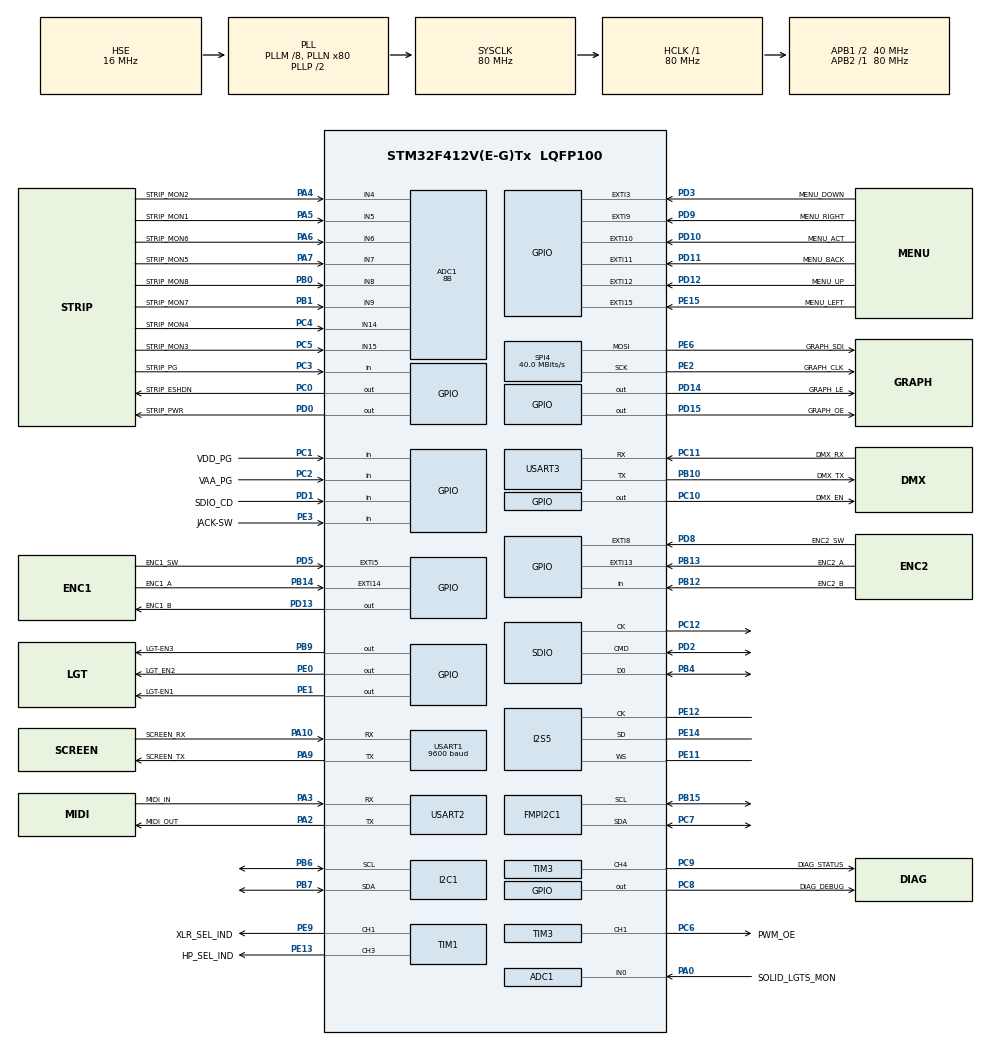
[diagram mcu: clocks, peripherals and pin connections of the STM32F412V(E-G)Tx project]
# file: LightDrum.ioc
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ADC1.Channel-0\#ChannelRegularConversion=ADC_CHANNEL_4
ADC1.Channel-1\#ChannelRegularConversion=ADC_CHANNEL_5
ADC1.Channel-10\#ChannelRegularConversion=ADC_CHANNEL_VREFINT
ADC1.Channel-2\#ChannelRegularConversion=ADC_CHANNEL_6
ADC1.Channel-3\#ChannelRegularConversion=ADC_CHANNEL_7
ADC1.Channel-4\#ChannelRegularConversion=ADC_CHANNEL_8
ADC1.Channel-5\#ChannelRegularConversion=ADC_CHANNEL_9
ADC1.Channel-6\#ChannelRegularConversion=ADC_CHANNEL_14
ADC1.Channel-7\#ChannelRegularConversion=ADC_CHANNEL_15
ADC1.Channel-8\#ChannelRegularConversion=ADC_CHANNEL_0
ADC1.Channel-9\#ChannelRegularConversion=ADC_CHANNEL_TEMPSENSOR
ADC1.ContinuousConvMode=DISABLE
ADC1.DMAContinuousRequests=ENABLE
ADC1.EOCSelection=ADC_EOC_SEQ_CONV
ADC1.ExternalTrigConv=ADC_EXTERNALTRIGCONV_T8_TRGO
ADC1.NbrOfConversion=11
ADC1.NbrOfConversionFlag=1
ADC1.Rank-0\#ChannelRegularConversion=1
ADC1.Rank-1\#ChannelRegularConversion=2
ADC1.Rank-10\#ChannelRegularConversion=11
ADC1.Rank-2\#ChannelRegularConversion=3
ADC1.Rank-3\#ChannelRegularConversion=4
ADC1.Rank-4\#ChannelRegularConversion=5
ADC1.Rank-5\#ChannelRegularConversion=6
ADC1.Rank-6\#ChannelRegularConversion=7
ADC1.Rank-7\#ChannelRegularConversion=8
ADC1.Rank-8\#ChannelRegularConversion=9
ADC1.Rank-9\#ChannelRegularConversion=10
ADC1.Resolution=ADC_RESOLUTION_8B
ADC1.SamplingTime-0\#ChannelRegularConversion=ADC_SAMPLETIME_3CYCLES
ADC1.SamplingTime-1\#ChannelRegularConversion=ADC_SAMPLETIME_3CYCLES
ADC1.SamplingTime-10\#ChannelRegularConversion=ADC_SAMPLETIME_15CYCLES
ADC1.SamplingTime-2\#ChannelRegularConversion=ADC_SAMPLETIME_3CYCLES
ADC1.SamplingTime-3\#ChannelRegularConversion=ADC_SAMPLETIME_3CYCLES
ADC1.SamplingTime-4\#ChannelRegularConversion=ADC_SAMPLETIME_3CYCLES
ADC1.SamplingTime-5\#ChannelRegularConversion=ADC_SAMPLETIME_3CYCLES
ADC1.SamplingTime-6\#ChannelRegularConversion=ADC_SAMPLETIME_3CYCLES
ADC1.SamplingTime-7\#ChannelRegularConversion=ADC_SAMPLETIME_3CYCLES
ADC1.SamplingTime-8\#ChannelRegularConversion=ADC_SAMPLETIME_3CYCLES
ADC1.SamplingTime-9\#ChannelRegularConversion=ADC_SAMPLETIME_3CYCLES
ADC1.master=1
Dma.ADC1.0.Direction=DMA_PERIPH_TO_MEMORY
Dma.ADC1.0.FIFOMode=DMA_FIFOMODE_DISABLE
Dma.ADC1.0.Instance=DMA2_Stream0
Dma.ADC1.0.MemDataAlignment=DMA_MDATAALIGN_BYTE
Dma.ADC1.0.MemInc=DMA_MINC_ENABLE
Dma.ADC1.0.Mode=DMA_CIRCULAR
Dma.ADC1.0.PeriphDataAlignment=DMA_PDATAALIGN_BYTE
Dma.ADC1.0.PeriphInc=DMA_PINC_DISABLE
Dma.ADC1.0.Priority=DMA_PRIORITY_MEDIUM
Dma.FMPI2C1_TX.1.Direction=DMA_MEMORY_TO_PERIPH
Dma.FMPI2C1_TX.1.FIFOMode=DMA_FIFOMODE_DISABLE
Dma.FMPI2C1_TX.1.Instance=DMA1_Stream1
Dma.FMPI2C1_TX.1.MemDataAlignment=DMA_MDATAALIGN_BYTE
Dma.FMPI2C1_TX.1.MemInc=DMA_MINC_ENABLE
Dma.FMPI2C1_TX.1.Mode=DMA_NORMAL
Dma.FMPI2C1_TX.1.PeriphDataAlignment=DMA_PDATAALIGN_BYTE
Dma.FMPI2C1_TX.1.PeriphInc=DMA_PINC_DISABLE
Dma.FMPI2C1_TX.1.Priority=DMA_PRIORITY_HIGH
Dma.Request0=ADC1
Dma.Request1=FMPI2C1_TX
Dma.Request2=SPI5_RX
Dma.SPI5_RX.2.Direction=DMA_PERIPH_TO_MEMORY
Dma.SPI5_RX.2.FIFOMode=DMA_FIFOMODE_DISABLE
Dma.SPI5_RX.2.Instance=DMA2_Stream3
Dma.SPI5_RX.2.MemDataAlignment=DMA_MDATAALIGN_HALFWORD
Dma.SPI5_RX.2.MemInc=DMA_MINC_ENABLE
Dma.SPI5_RX.2.Mode=DMA_CIRCULAR
Dma.SPI5_RX.2.PeriphDataAlignment=DMA_PDATAALIGN_HALFWORD
Dma.SPI5_RX.2.PeriphInc=DMA_PINC_DISABLE
Dma.SPI5_RX.2.Priority=DMA_PRIORITY_VERY_HIGH
FATFS.BSP.number=1
FATFS._CODE_PAGE=850
FATFS._USE_LFN=1
FATFS0.BSP.STBoard=false
FATFS0.BSP.api=Unknown
FATFS0.BSP.instance=PD1
FATFS0.BSP.ip=GPIO
FATFS0.BSP.mode=Input
FATFS0.BSP.name=Detect_SDIO
FATFS0.BSP.solution=PD1
FMPI2C1.FMPI2C_Speed_Mode=FMPI2C_Fast_Plus
FMPI2C1.Timing=0x00100618
I2S5.AudioFreq=I2S_AUDIOFREQ_48K
I2S5.DataFormat=I2S_DATAFORMAT_32B
I2S5.ErrorAudioFreq=-0.42 %
I2S5.FullDuplexMode=I2S_FULLDUPLEXMODE_DISABLE
I2S5.Instance=SPI$Index
I2S5.Mode=I2S_MODE_MASTER_RX
I2S5.RealAudioFreq=47.794 KHz
I2S5.Standard=I2S_STANDARD_MSB
I2S5.VirtualMode=I2S_MODE_MASTER
Mcu.Family=STM32F4
Mcu.Name=STM32F412V(E-G)Tx
Mcu.Package=LQFP100
NVIC.ADC_IRQn=true\:0\:0\:false\:false\:true\:true\:true\:true
NVIC.DMA1_Stream1_IRQn=true\:0\:0\:false\:false\:true\:false\:true\:true
NVIC.DMA2_Stream0_IRQn=true\:0\:0\:false\:false\:true\:false\:true\:true
NVIC.DMA2_Stream3_IRQn=true\:0\:0\:false\:false\:true\:false\:true\:true
NVIC.EXTI15_10_IRQn=true\:0\:0\:false\:false\:true\:true\:true\:true
NVIC.EXTI3_IRQn=true\:0\:0\:false\:false\:true\:true\:true\:true
NVIC.EXTI9_5_IRQn=true\:0\:0\:false\:false\:true\:true\:true\:true
NVIC.FMPI2C1_ER_IRQn=true\:0\:0\:false\:false\:true\:true\:true\:true
NVIC.FMPI2C1_EV_IRQn=true\:0\:0\:false\:false\:true\:true\:true\:true
NVIC.PriorityGroup=NVIC_PRIORITYGROUP_4
NVIC.RCC_IRQn=true\:0\:0\:false\:false\:true\:true\:false\:true
NVIC.RTC_Alarm_IRQn=true\:0\:0\:false\:false\:true\:true\:true\:true
NVIC.TIM6_IRQn=true\:0\:0\:false\:false\:true\:true\:true\:true
NVIC.USART1_IRQn=true\:0\:0\:false\:false\:true\:true\:true\:true
NVIC.USART2_IRQn=true\:0\:0\:false\:false\:true\:true\:true\:true
NVIC.USART3_IRQn=true\:0\:0\:false\:false\:true\:true\:true\:true
PA0.GPIO_Label=SOLID_LGTS_MON
PA0.Signal=ADCx_IN0
PA10.GPIO_Label=SCREEN_RX
PA10.Mode=Asynchronous
PA10.Signal=USART1_RX
PA13.Mode=Trace_Asynchronous_SW
PA13.Signal=SYS_JTMS-SWDIO
PA14.Mode=Trace_Asynchronous_SW
PA14.Signal=SYS_JTCK-SWCLK
PA2.GPIO_Label=MIDI_OUT
PA2.Mode=Asynchronous
PA2.Signal=USART2_TX
PA3.GPIO_Label=MIDI_IN
PA3.Mode=Asynchronous
PA3.Signal=USART2_RX
PA4.GPIO_Label=STRIP_MON2
PA4.Signal=ADCx_IN4
PA5.GPIO_Label=STRIP_MON1
PA5.Signal=ADCx_IN5
PA6.GPIO_Label=STRIP_MON6
PA6.Signal=ADCx_IN6
PA7.GPIO_Label=STRIP_MON5
PA7.Signal=ADCx_IN7
PA9.GPIO_Label=SCREEN_TX
PA9.Mode=Asynchronous
PA9.Signal=USART1_TX
PB0.GPIO_Label=STRIP_MON8
PB0.Signal=ADCx_IN8
PB1.GPIO_Label=STRIP_MON7
PB1.Signal=ADCx_IN9
PB10.GPIO_Label=DMX_TX
PB10.Mode=Asynchronous
PB10.Signal=USART3_TX
PB12.GPIO_Label=ENC2_B
PB12.Signal=GPIO_Input
PB13.GPIO_Label=ENC2_A
PB13.GPIO_ModeDefaultEXTI=GPIO_MODE_IT_RISING_FALLING
PB13.Signal=GPXTI13
PB14.GPIO_Label=ENC1_A
PB14.GPIO_ModeDefaultEXTI=GPIO_MODE_IT_RISING_FALLING
PB14.Signal=GPXTI14
PB15.Mode=I2C
PB15.Signal=FMPI2C1_SCL
PB3.Mode=Trace_Asynchronous_SW
PB3.Signal=SYS_JTDO-SWO
PB4.Mode=SD_1_bit
PB4.Signal=SDIO_D0
PB6.Mode=I2C
PB6.Signal=I2C1_SCL
PB7.Mode=I2C
PB7.Signal=I2C1_SDA
PB9.GPIO_Label=LGT-EN3
PB9.Signal=GPIO_Output
PC0.GPIO_Label=STRIP_ESHDN
PC0.GPIO_ModeDefaultOutputPP=GPIO_MODE_OUTPUT_PP
PC0.GPIO_PuPd=GPIO_NOPULL
PC0.Signal=GPIO_Output
PC1.GPIO_Label=VDD_PG
PC1.Signal=GPIO_Input
PC10.GPIO_Label=DMX_EN
PC10.Signal=GPIO_Output
PC11.GPIO_Label=DMX_RX
PC11.Mode=Asynchronous
PC11.Signal=USART3_RX
PC12.Mode=SD_1_bit
PC12.Signal=SDIO_CK
PC14-OSC32_IN.Mode=LSE-External-Oscillator
PC14-OSC32_IN.Signal=RCC_OSC32_IN
PC15-OSC32_OUT.Mode=LSE-External-Oscillator
PC15-OSC32_OUT.Signal=RCC_OSC32_OUT
PC2.GPIO_Label=VAA_PG
PC2.Signal=GPIO_Input
PC3.GPIO_Label=STRIP_PG
PC3.Signal=GPIO_Input
PC4.GPIO_Label=STRIP_MON4
PC4.Signal=ADCx_IN14
PC5.GPIO_Label=STRIP_MON3
PC5.Signal=ADCx_IN15
PC6.GPIO_Label=PWM_OE
PC6.Signal=S_TIM3_CH1
PC7.Mode=I2C
PC7.Signal=FMPI2C1_SDA
PC8.GPIO_Label=DIAG_DEBUG
PC8.PinState=GPIO_PIN_SET
PC8.Signal=GPIO_Output
PC9.GPIO_Label=DIAG_STATUS
PC9.Signal=S_TIM3_CH4
PD0.GPIO_Label=STRIP_PWR
PD0.Signal=GPIO_Output
PD1.GPIO_Label=SDIO_CD
PD1.Signal=GPIO_Input
PD10.GPIO_Label=MENU_ACT
PD10.GPIO_ModeDefaultEXTI=GPIO_MODE_IT_FALLING
PD10.GPIO_PuPd=GPIO_PULLUP
PD10.Signal=GPXTI10
PD11.GPIO_Label=MENU_BACK
PD11.GPIO_ModeDefaultEXTI=GPIO_MODE_IT_FALLING
PD11.GPIO_PuPd=GPIO_PULLUP
PD11.Signal=GPXTI11
PD12.GPIO_Label=MENU_UP
PD12.GPIO_ModeDefaultEXTI=GPIO_MODE_IT_FALLING
PD12.GPIO_PuPd=GPIO_PULLUP
PD12.Signal=GPXTI12
PD13.GPIO_Label=ENC1_B
PD13.GPIO_Speed=GPIO_SPEED_FREQ_HIGH
PD13.PinState=GPIO_PIN_RESET
PD13.Signal=GPIO_Output
PD14.GPIO_Label=GRAPH_LE
PD14.Signal=GPIO_Output
PD15.GPIO_Label=GRAPH_OE
PD15.GPIO_Speed=GPIO_SPEED_FREQ_HIGH
PD15.Signal=GPIO_Output
PD2.Mode=SD_1_bit
PD2.Signal=SDIO_CMD
PD3.GPIO_Label=MENU_DOWN
PD3.GPIO_ModeDefaultEXTI=GPIO_MODE_IT_FALLING
PD3.GPIO_PuPd=GPIO_PULLUP
PD3.Signal=GPXTI3
PD5.GPIO_Label=ENC1_SW
PD5.GPIO_ModeDefaultEXTI=GPIO_MODE_IT_FALLING
PD5.GPIO_PuPd=GPIO_PULLUP
PD5.Signal=GPXTI5
PD8.GPIO_Label=ENC2_SW
PD8.GPIO_ModeDefaultEXTI=GPIO_MODE_IT_FALLING
PD8.GPIO_PuPd=GPIO_PULLUP
PD8.Signal=GPXTI8
PD9.GPIO_Label=MENU_RIGHT
PD9.GPIO_ModeDefaultEXTI=GPIO_MODE_IT_FALLING
PD9.GPIO_PuPd=GPIO_PULLUP
PD9.Signal=GPXTI9
PE0.GPIO_Label=LGT_EN2
PE0.Signal=GPIO_Output
PE1.GPIO_Label=LGT-EN1
PE1.Signal=GPIO_Output
PE11.Mode=Half_Duplex_Master
PE11.Signal=I2S5_WS
PE12.Mode=Half_Duplex_Master
PE12.Signal=I2S5_CK
PE13.GPIO_Label=HP_SEL_IND
PE13.Signal=S_TIM1_CH3
PE14.Mode=Half_Duplex_Master
PE14.Signal=I2S5_SD
PE15.GPIO_Label=MENU_LEFT
PE15.GPIO_ModeDefaultEXTI=GPIO_MODE_IT_FALLING
PE15.GPIO_PuPd=GPIO_PULLUP
PE15.Signal=GPXTI15
PE2.GPIO_Label=GRAPH_CLK
PE2.Mode=TX_Only_Simplex_Unidirect_Master
PE2.Signal=SPI4_SCK
PE3.GPIO_Label=JACK-SW
PE3.Signal=GPIO_Input
PE6.GPIO_Label=GRAPH_SDI
PE6.Mode=TX_Only_Simplex_Unidirect_Master
PE6.Signal=SPI4_MOSI
PE9.GPIO_Label=XLR_SEL_IND
PE9.Signal=S_TIM1_CH1
PH0\ -\ OSC_IN.Mode=HSE-External-Oscillator
PH0\ -\ OSC_IN.Signal=RCC_OSC_IN
PH1\ -\ OSC_OUT.Mode=HSE-External-Oscillator
PH1\ -\ OSC_OUT.Signal=RCC_OSC_OUT
ProjectManager.HeapSize=0x200
ProjectManager.StackSize=0x400
ProjectManager.TargetToolchain=STM32CubeIDE
RCC.AHBFreq_Value=80000000
RCC.APB1CLKDivider=RCC_HCLK_DIV2
RCC.APB1Freq_Value=40000000
RCC.APB1TimFreq_Value=80000000
RCC.APB2Freq_Value=80000000
RCC.APB2TimFreq_Value=80000000
RCC.CortexFreq_Value=80000000
RCC.HCLKFreq_Value=80000000
RCC.HSE_VALUE=16000000
RCC.PLLI2SM=8
RCC.PLLI2SN=52
RCC.PLLM=8
RCC.PLLN=80
RCC.PLLQ=4
RCC.PLLSourceVirtual=RCC_PLLSOURCE_HSE
RCC.RCC_RTC_Clock_SourceVirtual=RCC_RTCCLKSOURCE_LSE
RCC.SYSCLKFreq_VALUE=80000000
RCC.SYSCLKSource=RCC_SYSCLKSOURCE_PLLCLK
RCC.USBFreq_Value=40000000
RCC.VCOOutputFreq_Value=160000000
RCC.VDD_VALUE=3.2
RTC.Alarm=RTC_ALARM_A
RTC.HourFormat=RTC_HOURFORMAT_12
RTC.Minutes_A=1
SH.ADCx_IN0.0=ADC1_IN0,IN0
SH.ADCx_IN14.0=ADC1_IN14,IN14
SH.ADCx_IN15.0=ADC1_IN15,IN15
SH.ADCx_IN4.0=ADC1_IN4,IN4
SH.ADCx_IN5.0=ADC1_IN5,IN5
SH.ADCx_IN6.0=ADC1_IN6,IN6
SH.ADCx_IN7.0=ADC1_IN7,IN7
SH.ADCx_IN8.0=ADC1_IN8,IN8
SH.ADCx_IN9.0=ADC1_IN9,IN9
SH.S_TIM1_CH1.0=TIM1_CH1,PWM Generation1 CH1
SH.S_TIM1_CH3.0=TIM1_CH3,PWM Generation3 CH3
SH.S_TIM3_CH1.0=TIM3_CH1,PWM Generation1 CH1
SH.S_TIM3_CH4.0=TIM3_CH4,PWM Generation4 CH4
SPI4.CalculateBaudRate=40.0 MBits/s
SPI4.Direction=SPI_DIRECTION_2LINES
SPI4.Mode=SPI_MODE_MASTER
SPI4.VirtualType=VM_MASTER
TIM1.AutoReloadPreload=TIM_AUTORELOAD_PRELOAD_ENABLE
TIM1.Channel-PWM\ Generation1\ CH1=TIM_CHANNEL_1
TIM1.Channel-PWM\ Generation3\ CH3=TIM_CHANNEL_3
TIM1.Pulse-PWM\ Generation3\ CH3=32000
TIM3.AutoReloadPreload=TIM_AUTORELOAD_PRELOAD_ENABLE
TIM3.Channel-PWM\ Generation1\ CH1=TIM_CHANNEL_1
TIM3.Channel-PWM\ Generation4\ CH4=TIM_CHANNEL_4
TIM3.Period=65535
TIM6.AutoReloadPreload=TIM_AUTORELOAD_PRELOAD_ENABLE
TIM6.Period=255
TIM6.TIM_MasterOutputTrigger=TIM_TRGO_UPDATE
TIM8.AutoReloadPreload=TIM_AUTORELOAD_PRELOAD_ENABLE
TIM8.Channel-PWM\ Generation1\ No\ Output=TIM_CHANNEL_1
TIM8.Period=250-1
TIM8.Prescaler=5000-1
TIM8.TIM_MasterOutputTrigger=TIM_TRGO_UPDATE
USART1.BaudRate=9600
USART1.Parity=PARITY_NONE
USART1.VirtualMode=VM_ASYNC
USART1.WordLength=WORDLENGTH_8B
USART2.VirtualMode=VM_ASYNC
USART3.VirtualMode=VM_ASYNC
VP_ADC1_TempSens_Input.Mode=IN-TempSens
VP_ADC1_Vref_Input.Mode=IN-Vrefint
VP_CRC_VS_CRC.Mode=CRC_Activate
VP_FATFS_VS_SDIO.Mode=SDIO
VP_RTC_VS_RTC_Activate.Mode=RTC_Enabled
VP_RTC_VS_RTC_Alarm_A_Intern.Mode=Alarm A
VP_RTC_VS_RTC_Calendar.Mode=RTC_Calendar
VP_TIM1_VS_ClockSourceINT.Mode=Internal
VP_TIM3_VS_ClockSourceINT.Mode=Internal
VP_TIM6_VS_ClockSourceINT.Mode=Enable_Timer
VP_TIM6_VS_OPM.Mode=OPM_bit
VP_TIM8_VS_ClockSourceINT.Mode=Internal
VP_TIM8_VS_no_output1.Mode=PWM Generation1 No Output
board=custom

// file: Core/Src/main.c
/* USER CODE BEGIN Header */
/**
  ******************************************************************************
  * @file           : main.c
  * @brief          : Main program body
  ******************************************************************************
  * @attention
  *
  * Copyright (c) 2023 STMicroelectronics.
  * All rights reserved.
  *
  * This software is licensed under terms that can be found in the LICENSE file
  * in the root directory of this software component.
  * If no LICENSE file comes with this software, it is provided AS-IS.
  *
  ******************************************************************************
  */
/* USER CODE END Header */
#include "main.h"
#include "fatfs.h"

/* USER CODE BEGIN Includes */
#include "MainWrapper.h"
/* USER CODE END Includes */

/* USER CODE BEGIN PD */
//#define USE_HAL_UART_REGISTER_CALLBACKS 1
/* USER CODE END PD */

ADC_HandleTypeDef hadc1;
DMA_HandleTypeDef hdma_adc1;

CRC_HandleTypeDef hcrc;

FMPI2C_HandleTypeDef hfmpi2c1;
DMA_HandleTypeDef hdma_fmpi2c1_tx;

I2C_HandleTypeDef hi2c1;

I2S_HandleTypeDef hi2s5;
DMA_HandleTypeDef hdma_spi5_rx;

RTC_HandleTypeDef hrtc;

SD_HandleTypeDef hsd;

SPI_HandleTypeDef hspi4;

TIM_HandleTypeDef htim1;
TIM_HandleTypeDef htim3;
TIM_HandleTypeDef htim6;
TIM_HandleTypeDef htim8;

UART_HandleTypeDef huart1;
UART_HandleTypeDef huart2;
UART_HandleTypeDef huart3;

/* USER CODE BEGIN PV */
uint32_t prevTick = 0;
uint32_t currentTick = UINT32_MAX;
uint8_t checkTick = 0;
/* USER CODE END PV */

void SystemClock_Config(void);
static void MX_GPIO_Init(void);
static void MX_DMA_Init(void);
static void MX_ADC1_Init(void);
static void MX_I2C1_Init(void);
static void MX_TIM3_Init(void);
static void MX_USART1_UART_Init(void);
static void MX_USART2_UART_Init(void);
static void MX_TIM6_Init(void);
static void MX_RTC_Init(void);
static void MX_SPI4_Init(void);
static void MX_FMPI2C1_Init(void);
static void MX_USART3_UART_Init(void);
static void MX_TIM1_Init(void);
static void MX_I2S5_Init(void);
static void MX_SDIO_SD_Init(void);
static void MX_TIM8_Init(void);
static void MX_CRC_Init(void);

/* USER CODE BEGIN 0 */
void HAL_IncTick(void)
{
  uwTick += uwTickFreq;
  if (uwTick == 0)
  {
	  prevTick = 0;
  }
}

void HAL_GPIO_EXTI_Callback(uint16_t GPIO_Pin)
{
	currentTick = HAL_GetTick();
	checkTick = prevTick + MENU_DEBOUNCE_WAIT < currentTick;
	prevTick = currentTick;
	switch (GPIO_Pin) {
		case ENC1_A_Pin:
			Enc1TurnInterruptCallback();
			break;
		case ENC2_A_Pin:
			Enc2TurnInterruptCallback();
			break;
		case MENU_UP_Pin:
			if (checkTick)
			{
				MenuUpInterruptCallback();
			}
			break;
		case MENU_DOWN_Pin:
			if (checkTick)
			{
				MenuDownInterruptCallback();
			}
			break;
		case MENU_LEFT_Pin:
			if (checkTick)
			{
				MenuLeftInterruptCallback();
			}
			break;
		case MENU_RIGHT_Pin:
			if (checkTick)
			{
				MenuRightInterruptCallback();
			}
			break;
		case MENU_ACT_Pin:
			if (checkTick)
			{
				MenuActInterruptCallback();
			}
			break;
		case MENU_BACK_Pin:
			if (checkTick)
			{
				MenuBackInterruptCallback();
			}
		default:
			break;
	}
}

void HAL_I2SEx_TxRxCpltCallback(I2S_HandleTypeDef *hi2s)
{
	AudioFullCallback();
}

//void HAL_I2SEx_TxRxHalfCpltCallback(I2S_HandleTypeDef *hi2s)
//{
//	AudioHalfFullCallback();
//}

void HAL_I2S_RxCpltCallback(I2S_HandleTypeDef *hi2s)
{
	AudioFullCallback();
}

void HAL_ADC_ConvCpltCallback(ADC_HandleTypeDef* hadc)
{
	CurrentConvFullCallback();
}

//void HAL_UARTEx_RxEventCallback(UART_HandleTypeDef *huart, uint16_t Size)
//{
//	ScreenReceiveCallback();
//}
/* USER CODE END 0 */

int main(void)
{

  /* MCU Configuration--------------------------------------------------------*/

  /* Reset of all peripherals, Initializes the Flash interface and the Systick. */
  HAL_Init();

  /* Configure the system clock */
  SystemClock_Config();

  /* Initialize all configured peripherals */
  MX_GPIO_Init();
  MX_DMA_Init();
  MX_ADC1_Init();
  MX_I2C1_Init();
  MX_TIM3_Init();
  MX_USART1_UART_Init();
  MX_USART2_UART_Init();
  MX_TIM6_Init();
  MX_RTC_Init();
  MX_SPI4_Init();
  MX_FMPI2C1_Init();
  MX_USART3_UART_Init();
  MX_TIM1_Init();
  MX_I2S5_Init();
  MX_SDIO_SD_Init();
  MX_FATFS_Init();
  MX_TIM8_Init();
  MX_CRC_Init();
  /* USER CODE BEGIN 2 */

//  HAL_GPIO_WritePin(DIAG_DEBUG_GPIO_Port, DIAG_DEBUG_Pin, GPIO_PIN_RESET);
  if (Init(
		  &hadc1,
		  &hdma_adc1,

		  &hfmpi2c1,
		  &hdma_fmpi2c1_tx,

		  &hi2c1,

		  &hi2s5,
		  &hdma_spi5_rx,

		  &hspi4,

		  &htim1,
		  &htim3,
		  &htim8,

		  &huart1,
		  &huart2,
		  &huart3,

		  &hrtc,
		  &hsd
  ) != HAL_OK)
  {
	  Error_Handler();
  }

  // For Init tests
  InitTest();
  /* USER CODE END 2 */

  /* Infinite loop */
  /* USER CODE BEGIN WHILE */
  while (1)
  {
	  Main();
    /* USER CODE END WHILE */

  }
}

void SystemClock_Config(void)
{
  RCC_OscInitTypeDef RCC_OscInitStruct = {0};
  RCC_ClkInitTypeDef RCC_ClkInitStruct = {0};

  /** Configure the main internal regulator output voltage
  */
  __HAL_RCC_PWR_CLK_ENABLE();
  __HAL_PWR_VOLTAGESCALING_CONFIG(PWR_REGULATOR_VOLTAGE_SCALE1);

  /** Initializes the RCC Oscillators according to the specified parameters
  * in the RCC_OscInitTypeDef structure.
  */
  RCC_OscInitStruct.OscillatorType = RCC_OSCILLATORTYPE_HSE|RCC_OSCILLATORTYPE_LSE;
  RCC_OscInitStruct.HSEState = RCC_HSE_ON;
  RCC_OscInitStruct.LSEState = RCC_LSE_ON;
  RCC_OscInitStruct.PLL.PLLState = RCC_PLL_ON;
  RCC_OscInitStruct.PLL.PLLSource = RCC_PLLSOURCE_HSE;
  RCC_OscInitStruct.PLL.PLLM = 8;
  RCC_OscInitStruct.PLL.PLLN = 80;
  RCC_OscInitStruct.PLL.PLLP = RCC_PLLP_DIV2;
  RCC_OscInitStruct.PLL.PLLQ = 4;
  RCC_OscInitStruct.PLL.PLLR = 2;
  if (HAL_RCC_OscConfig(&RCC_OscInitStruct) != HAL_OK)
  {
    Error_Handler();
  }

  /** Initializes the CPU, AHB and APB buses clocks
  */
  RCC_ClkInitStruct.ClockType = RCC_CLOCKTYPE_HCLK|RCC_CLOCKTYPE_SYSCLK
                              |RCC_CLOCKTYPE_PCLK1|RCC_CLOCKTYPE_PCLK2;
  RCC_ClkInitStruct.SYSCLKSource = RCC_SYSCLKSOURCE_PLLCLK;
  RCC_ClkInitStruct.AHBCLKDivider = RCC_SYSCLK_DIV1;
  RCC_ClkInitStruct.APB1CLKDivider = RCC_HCLK_DIV2;
  RCC_ClkInitStruct.APB2CLKDivider = RCC_HCLK_DIV1;

  if (HAL_RCC_ClockConfig(&RCC_ClkInitStruct, FLASH_LATENCY_2) != HAL_OK)
  {
    Error_Handler();
  }
}

static void MX_ADC1_Init(void)
{

  ADC_ChannelConfTypeDef sConfig = {0};

  /** Configure the global features of the ADC (Clock, Resolution, Data Alignment and number of conversion)
  */
  hadc1.Instance = ADC1;
  hadc1.Init.ClockPrescaler = ADC_CLOCK_SYNC_PCLK_DIV4;
  hadc1.Init.Resolution = ADC_RESOLUTION_8B;
  hadc1.Init.ScanConvMode = ENABLE;
  hadc1.Init.ContinuousConvMode = DISABLE;
  hadc1.Init.DiscontinuousConvMode = DISABLE;
  hadc1.Init.ExternalTrigConvEdge = ADC_EXTERNALTRIGCONVEDGE_RISING;
  hadc1.Init.ExternalTrigConv = ADC_EXTERNALTRIGCONV_T8_TRGO;
  hadc1.Init.DataAlign = ADC_DATAALIGN_RIGHT;
  hadc1.Init.NbrOfConversion = 11;
  hadc1.Init.DMAContinuousRequests = ENABLE;
  hadc1.Init.EOCSelection = ADC_EOC_SEQ_CONV;
  if (HAL_ADC_Init(&hadc1) != HAL_OK)
  {
    Error_Handler();
  }

  /** Configure for the selected ADC regular channel its corresponding rank in the sequencer and its sample time.
  */
  sConfig.Channel = ADC_CHANNEL_4;
  sConfig.Rank = 1;
  sConfig.SamplingTime = ADC_SAMPLETIME_3CYCLES;
  if (HAL_ADC_ConfigChannel(&hadc1, &sConfig) != HAL_OK)
  {
    Error_Handler();
  }

  /** Configure for the selected ADC regular channel its corresponding rank in the sequencer and its sample time.
  */
  sConfig.Channel = ADC_CHANNEL_5;
  sConfig.Rank = 2;
  if (HAL_ADC_ConfigChannel(&hadc1, &sConfig) != HAL_OK)
  {
    Error_Handler();
  }

  /** Configure for the selected ADC regular channel its corresponding rank in the sequencer and its sample time.
  */
  sConfig.Channel = ADC_CHANNEL_6;
  sConfig.Rank = 3;
  if (HAL_ADC_ConfigChannel(&hadc1, &sConfig) != HAL_OK)
  {
    Error_Handler();
  }

  /** Configure for the selected ADC regular channel its corresponding rank in the sequencer and its sample time.
  */
  sConfig.Channel = ADC_CHANNEL_7;
  sConfig.Rank = 4;
  if (HAL_ADC_ConfigChannel(&hadc1, &sConfig) != HAL_OK)
  {
    Error_Handler();
  }

  /** Configure for the selected ADC regular channel its corresponding rank in the sequencer and its sample time.
  */
  sConfig.Channel = ADC_CHANNEL_8;
  sConfig.Rank = 5;
  if (HAL_ADC_ConfigChannel(&hadc1, &sConfig) != HAL_OK)
  {
    Error_Handler();
  }

  /** Configure for the selected ADC regular channel its corresponding rank in the sequencer and its sample time.
  */
  sConfig.Channel = ADC_CHANNEL_9;
  sConfig.Rank = 6;
  if (HAL_ADC_ConfigChannel(&hadc1, &sConfig) != HAL_OK)
  {
    Error_Handler();
  }

  /** Configure for the selected ADC regular channel its corresponding rank in the sequencer and its sample time.
  */
  sConfig.Channel = ADC_CHANNEL_14;
  sConfig.Rank = 7;
  if (HAL_ADC_ConfigChannel(&hadc1, &sConfig) != HAL_OK)
  {
    Error_Handler();
  }

  /** Configure for the selected ADC regular channel its corresponding rank in the sequencer and its sample time.
  */
  sConfig.Channel = ADC_CHANNEL_15;
  sConfig.Rank = 8;
  if (HAL_ADC_ConfigChannel(&hadc1, &sConfig) != HAL_OK)
  {
    Error_Handler();
  }

  /** Configure for the selected ADC regular channel its corresponding rank in the sequencer and its sample time.
  */
  sConfig.Channel = ADC_CHANNEL_0;
  sConfig.Rank = 9;
  if (HAL_ADC_ConfigChannel(&hadc1, &sConfig) != HAL_OK)
  {
    Error_Handler();
  }

  /** Configure for the selected ADC regular channel its corresponding rank in the sequencer and its sample time.
  */
  sConfig.Channel = ADC_CHANNEL_TEMPSENSOR;
  sConfig.Rank = 10;
  if (HAL_ADC_ConfigChannel(&hadc1, &sConfig) != HAL_OK)
  {
    Error_Handler();
  }

  /** Configure for the selected ADC regular channel its corresponding rank in the sequencer and its sample time.
  */
  sConfig.Channel = ADC_CHANNEL_VREFINT;
  sConfig.Rank = 11;
  sConfig.SamplingTime = ADC_SAMPLETIME_15CYCLES;
  if (HAL_ADC_ConfigChannel(&hadc1, &sConfig) != HAL_OK)
  {
    Error_Handler();
  }

}

static void MX_CRC_Init(void)
{

  hcrc.Instance = CRC;
  if (HAL_CRC_Init(&hcrc) != HAL_OK)
  {
    Error_Handler();
  }

}

static void MX_FMPI2C1_Init(void)
{

  hfmpi2c1.Instance = FMPI2C1;
  hfmpi2c1.Init.Timing = 0x00100618;
  hfmpi2c1.Init.OwnAddress1 = 0;
  hfmpi2c1.Init.AddressingMode = FMPI2C_ADDRESSINGMODE_7BIT;
  hfmpi2c1.Init.DualAddressMode = FMPI2C_DUALADDRESS_DISABLE;
  hfmpi2c1.Init.OwnAddress2 = 0;
  hfmpi2c1.Init.OwnAddress2Masks = FMPI2C_OA2_NOMASK;
  hfmpi2c1.Init.GeneralCallMode = FMPI2C_GENERALCALL_DISABLE;
  hfmpi2c1.Init.NoStretchMode = FMPI2C_NOSTRETCH_DISABLE;
  if (HAL_FMPI2C_Init(&hfmpi2c1) != HAL_OK)
  {
    Error_Handler();
  }

  /** Configure Analogue filter
  */
  if (HAL_FMPI2CEx_ConfigAnalogFilter(&hfmpi2c1, FMPI2C_ANALOGFILTER_ENABLE) != HAL_OK)
  {
    Error_Handler();
  }

  /** I2C Fast mode Plus enable
  */
  HAL_FMPI2CEx_EnableFastModePlus(FMPI2C_FASTMODEPLUS_SCL);
  HAL_FMPI2CEx_EnableFastModePlus(FMPI2C_FASTMODEPLUS_SDA);

}

static void MX_I2C1_Init(void)
{

  hi2c1.Instance = I2C1;
  hi2c1.Init.ClockSpeed = 100000;
  hi2c1.Init.DutyCycle = I2C_DUTYCYCLE_2;
  hi2c1.Init.OwnAddress1 = 0;
  hi2c1.Init.AddressingMode = I2C_ADDRESSINGMODE_7BIT;
  hi2c1.Init.DualAddressMode = I2C_DUALADDRESS_DISABLE;
  hi2c1.Init.OwnAddress2 = 0;
  hi2c1.Init.GeneralCallMode = I2C_GENERALCALL_DISABLE;
  hi2c1.Init.NoStretchMode = I2C_NOSTRETCH_DISABLE;
  if (HAL_I2C_Init(&hi2c1) != HAL_OK)
  {
    Error_Handler();
  }

}

static void MX_I2S5_Init(void)
{

  hi2s5.Instance = SPI5;
  hi2s5.Init.Mode = I2S_MODE_MASTER_RX;
  hi2s5.Init.Standard = I2S_STANDARD_MSB;
  hi2s5.Init.DataFormat = I2S_DATAFORMAT_32B;
  hi2s5.Init.MCLKOutput = I2S_MCLKOUTPUT_DISABLE;
  hi2s5.Init.AudioFreq = I2S_AUDIOFREQ_48K;
  hi2s5.Init.CPOL = I2S_CPOL_LOW;
  hi2s5.Init.ClockSource = I2S_CLOCK_PLL;
  hi2s5.Init.FullDuplexMode = I2S_FULLDUPLEXMODE_DISABLE;
  if (HAL_I2S_Init(&hi2s5) != HAL_OK)
  {
    Error_Handler();
  }

}

static void MX_RTC_Init(void)
{

  RTC_TimeTypeDef sTime = {0};
  RTC_DateTypeDef sDate = {0};
  RTC_AlarmTypeDef sAlarm = {0};

  /** Initialize RTC Only
  */
  hrtc.Instance = RTC;
  hrtc.Init.HourFormat = RTC_HOURFORMAT_12;
  hrtc.Init.AsynchPrediv = 127;
  hrtc.Init.SynchPrediv = 255;
  hrtc.Init.OutPut = RTC_OUTPUT_DISABLE;
  hrtc.Init.OutPutPolarity = RTC_OUTPUT_POLARITY_HIGH;
  hrtc.Init.OutPutType = RTC_OUTPUT_TYPE_OPENDRAIN;
  if (HAL_RTC_Init(&hrtc) != HAL_OK)
  {
    Error_Handler();
  }

  /** Initialize RTC and set the Time and Date
  */
  sTime.Hours = 0x1;
  sTime.Minutes = 0x0;
  sTime.Seconds = 0x0;
  sTime.TimeFormat = RTC_HOURFORMAT12_AM;
  sTime.DayLightSaving = RTC_DAYLIGHTSAVING_NONE;
  sTime.StoreOperation = RTC_STOREOPERATION_RESET;
  if (HAL_RTC_SetTime(&hrtc, &sTime, RTC_FORMAT_BCD) != HAL_OK)
  {
    Error_Handler();
  }
  sDate.WeekDay = RTC_WEEKDAY_MONDAY;
  sDate.Month = RTC_MONTH_JANUARY;
  sDate.Date = 0x1;
  sDate.Year = 0x0;

  if (HAL_RTC_SetDate(&hrtc, &sDate, RTC_FORMAT_BCD) != HAL_OK)
  {
    Error_Handler();
  }

  /** Enable the Alarm A
  */
  sAlarm.AlarmTime.Hours = 0x1;
  sAlarm.AlarmTime.Minutes = 0x1;
  sAlarm.AlarmTime.Seconds = 0x0;
  sAlarm.AlarmTime.SubSeconds = 0x0;
  sAlarm.AlarmTime.TimeFormat = RTC_HOURFORMAT12_AM;
  sAlarm.AlarmTime.DayLightSaving = RTC_DAYLIGHTSAVING_NONE;
  sAlarm.AlarmTime.StoreOperation = RTC_STOREOPERATION_RESET;
  sAlarm.AlarmMask = RTC_ALARMMASK_NONE;
  sAlarm.AlarmSubSecondMask = RTC_ALARMSUBSECONDMASK_ALL;
  sAlarm.AlarmDateWeekDaySel = RTC_ALARMDATEWEEKDAYSEL_DATE;
  sAlarm.AlarmDateWeekDay = 0x1;
  sAlarm.Alarm = RTC_ALARM_A;
  if (HAL_RTC_SetAlarm_IT(&hrtc, &sAlarm, RTC_FORMAT_BCD) != HAL_OK)
  {
    Error_Handler();
  }

}

static void MX_SDIO_SD_Init(void)
{

  hsd.Instance = SDIO;
  hsd.Init.ClockEdge = SDIO_CLOCK_EDGE_RISING;
  hsd.Init.ClockBypass = SDIO_CLOCK_BYPASS_DISABLE;
  hsd.Init.ClockPowerSave = SDIO_CLOCK_POWER_SAVE_DISABLE;
  hsd.Init.BusWide = SDIO_BUS_WIDE_1B;
  hsd.Init.HardwareFlowControl = SDIO_HARDWARE_FLOW_CONTROL_DISABLE;
  hsd.Init.ClockDiv = 0;

}

static void MX_SPI4_Init(void)
{

  /* SPI4 parameter configuration*/
  hspi4.Instance = SPI4;
  hspi4.Init.Mode = SPI_MODE_MASTER;
  hspi4.Init.Direction = SPI_DIRECTION_2LINES;
  hspi4.Init.DataSize = SPI_DATASIZE_8BIT;
  hspi4.Init.CLKPolarity = SPI_POLARITY_LOW;
  hspi4.Init.CLKPhase = SPI_PHASE_1EDGE;
  hspi4.Init.NSS = SPI_NSS_SOFT;
  hspi4.Init.BaudRatePrescaler = SPI_BAUDRATEPRESCALER_2;
  hspi4.Init.FirstBit = SPI_FIRSTBIT_MSB;
  hspi4.Init.TIMode = SPI_TIMODE_DISABLE;
  hspi4.Init.CRCCalculation = SPI_CRCCALCULATION_DISABLE;
  hspi4.Init.CRCPolynomial = 10;
  if (HAL_SPI_Init(&hspi4) != HAL_OK)
  {
    Error_Handler();
  }

}

static void MX_TIM1_Init(void)
{

  TIM_ClockConfigTypeDef sClockSourceConfig = {0};
  TIM_MasterConfigTypeDef sMasterConfig = {0};
  TIM_OC_InitTypeDef sConfigOC = {0};
  TIM_BreakDeadTimeConfigTypeDef sBreakDeadTimeConfig = {0};

  htim1.Instance = TIM1;
  htim1.Init.Prescaler = 0;
  htim1.Init.CounterMode = TIM_COUNTERMODE_UP;
  htim1.Init.Period = 65535;
  htim1.Init.ClockDivision = TIM_CLOCKDIVISION_DIV1;
  htim1.Init.RepetitionCounter = 0;
  htim1.Init.AutoReloadPreload = TIM_AUTORELOAD_PRELOAD_ENABLE;
  if (HAL_TIM_Base_Init(&htim1) != HAL_OK)
  {
    Error_Handler();
  }
  sClockSourceConfig.ClockSource = TIM_CLOCKSOURCE_INTERNAL;
  if (HAL_TIM_ConfigClockSource(&htim1, &sClockSourceConfig) != HAL_OK)
  {
    Error_Handler();
  }
  if (HAL_TIM_PWM_Init(&htim1) != HAL_OK)
  {
    Error_Handler();
  }
  sMasterConfig.MasterOutputTrigger = TIM_TRGO_RESET;
  sMasterConfig.MasterSlaveMode = TIM_MASTERSLAVEMODE_DISABLE;
  if (HAL_TIMEx_MasterConfigSynchronization(&htim1, &sMasterConfig) != HAL_OK)
  {
    Error_Handler();
  }
  sConfigOC.OCMode = TIM_OCMODE_PWM1;
  sConfigOC.Pulse = 0;
  sConfigOC.OCPolarity = TIM_OCPOLARITY_HIGH;
  sConfigOC.OCNPolarity = TIM_OCNPOLARITY_HIGH;
  sConfigOC.OCFastMode = TIM_OCFAST_DISABLE;
  sConfigOC.OCIdleState = TIM_OCIDLESTATE_RESET;
  sConfigOC.OCNIdleState = TIM_OCNIDLESTATE_RESET;
  if (HAL_TIM_PWM_ConfigChannel(&htim1, &sConfigOC, TIM_CHANNEL_1) != HAL_OK)
  {
    Error_Handler();
  }
  sConfigOC.Pulse = 32000;
  if (HAL_TIM_PWM_ConfigChannel(&htim1, &sConfigOC, TIM_CHANNEL_3) != HAL_OK)
  {
    Error_Handler();
  }
  sBreakDeadTimeConfig.OffStateRunMode = TIM_OSSR_DISABLE;
  sBreakDeadTimeConfig.OffStateIDLEMode = TIM_OSSI_DISABLE;
  sBreakDeadTimeConfig.LockLevel = TIM_LOCKLEVEL_OFF;
  sBreakDeadTimeConfig.DeadTime = 0;
  sBreakDeadTimeConfig.BreakState = TIM_BREAK_DISABLE;
  sBreakDeadTimeConfig.BreakPolarity = TIM_BREAKPOLARITY_HIGH;
  sBreakDeadTimeConfig.AutomaticOutput = TIM_AUTOMATICOUTPUT_DISABLE;
  if (HAL_TIMEx_ConfigBreakDeadTime(&htim1, &sBreakDeadTimeConfig) != HAL_OK)
  {
    Error_Handler();
  }
  HAL_TIM_MspPostInit(&htim1);

}

static void MX_TIM3_Init(void)
{

  TIM_ClockConfigTypeDef sClockSourceConfig = {0};
  TIM_MasterConfigTypeDef sMasterConfig = {0};
  TIM_OC_InitTypeDef sConfigOC = {0};

  htim3.Instance = TIM3;
  htim3.Init.Prescaler = 0;
  htim3.Init.CounterMode = TIM_COUNTERMODE_UP;
  htim3.Init.Period = 65535;
  htim3.Init.ClockDivision = TIM_CLOCKDIVISION_DIV1;
  htim3.Init.AutoReloadPreload = TIM_AUTORELOAD_PRELOAD_ENABLE;
  if (HAL_TIM_Base_Init(&htim3) != HAL_OK)
  {
    Error_Handler();
  }
  sClockSourceConfig.ClockSource = TIM_CLOCKSOURCE_INTERNAL;
  if (HAL_TIM_ConfigClockSource(&htim3, &sClockSourceConfig) != HAL_OK)
  {
    Error_Handler();
  }
  if (HAL_TIM_PWM_Init(&htim3) != HAL_OK)
  {
    Error_Handler();
  }
  sMasterConfig.MasterOutputTrigger = TIM_TRGO_RESET;
  sMasterConfig.MasterSlaveMode = TIM_MASTERSLAVEMODE_DISABLE;
  if (HAL_TIMEx_MasterConfigSynchronization(&htim3, &sMasterConfig) != HAL_OK)
  {
    Error_Handler();
  }
  sConfigOC.OCMode = TIM_OCMODE_PWM1;
  sConfigOC.Pulse = 0;
  sConfigOC.OCPolarity = TIM_OCPOLARITY_HIGH;
  sConfigOC.OCFastMode = TIM_OCFAST_DISABLE;
  if (HAL_TIM_PWM_ConfigChannel(&htim3, &sConfigOC, TIM_CHANNEL_1) != HAL_OK)
  {
    Error_Handler();
  }
  if (HAL_TIM_PWM_ConfigChannel(&htim3, &sConfigOC, TIM_CHANNEL_4) != HAL_OK)
  {
    Error_Handler();
  }
  HAL_TIM_MspPostInit(&htim3);

}

static void MX_TIM6_Init(void)
{

  TIM_MasterConfigTypeDef sMasterConfig = {0};

  htim6.Instance = TIM6;
  htim6.Init.Prescaler = 0;
  htim6.Init.CounterMode = TIM_COUNTERMODE_UP;
  htim6.Init.Period = 255;
  htim6.Init.AutoReloadPreload = TIM_AUTORELOAD_PRELOAD_ENABLE;
  if (HAL_TIM_Base_Init(&htim6) != HAL_OK)
  {
    Error_Handler();
  }
  if (HAL_TIM_OnePulse_Init(&htim6, TIM_OPMODE_SINGLE) != HAL_OK)
  {
    Error_Handler();
  }
  sMasterConfig.MasterOutputTrigger = TIM_TRGO_UPDATE;
  sMasterConfig.MasterSlaveMode = TIM_MASTERSLAVEMODE_DISABLE;
  if (HAL_TIMEx_MasterConfigSynchronization(&htim6, &sMasterConfig) != HAL_OK)
  {
    Error_Handler();
  }

}

static void MX_TIM8_Init(void)
{

  TIM_ClockConfigTypeDef sClockSourceConfig = {0};
  TIM_MasterConfigTypeDef sMasterConfig = {0};
  TIM_OC_InitTypeDef sConfigOC = {0};
  TIM_BreakDeadTimeConfigTypeDef sBreakDeadTimeConfig = {0};

  htim8.Instance = TIM8;
  htim8.Init.Prescaler = 5000-1;
  htim8.Init.CounterMode = TIM_COUNTERMODE_UP;
  htim8.Init.Period = 250-1;
  htim8.Init.ClockDivision = TIM_CLOCKDIVISION_DIV1;
  htim8.Init.RepetitionCounter = 0;
  htim8.Init.AutoReloadPreload = TIM_AUTORELOAD_PRELOAD_ENABLE;
  if (HAL_TIM_Base_Init(&htim8) != HAL_OK)
  {
    Error_Handler();
  }
  sClockSourceConfig.ClockSource = TIM_CLOCKSOURCE_INTERNAL;
  if (HAL_TIM_ConfigClockSource(&htim8, &sClockSourceConfig) != HAL_OK)
  {
    Error_Handler();
  }
  if (HAL_TIM_PWM_Init(&htim8) != HAL_OK)
  {
    Error_Handler();
  }
  sMasterConfig.MasterOutputTrigger = TIM_TRGO_UPDATE;
  sMasterConfig.MasterSlaveMode = TIM_MASTERSLAVEMODE_DISABLE;
  if (HAL_TIMEx_MasterConfigSynchronization(&htim8, &sMasterConfig) != HAL_OK)
  {
    Error_Handler();
  }
  sConfigOC.OCMode = TIM_OCMODE_PWM1;
  sConfigOC.Pulse = 0;
  sConfigOC.OCPolarity = TIM_OCPOLARITY_HIGH;
  sConfigOC.OCNPolarity = TIM_OCNPOLARITY_HIGH;
  sConfigOC.OCFastMode = TIM_OCFAST_DISABLE;
  sConfigOC.OCIdleState = TIM_OCIDLESTATE_RESET;
  sConfigOC.OCNIdleState = TIM_OCNIDLESTATE_RESET;
  if (HAL_TIM_PWM_ConfigChannel(&htim8, &sConfigOC, TIM_CHANNEL_1) != HAL_OK)
  {
    Error_Handler();
  }
  sBreakDeadTimeConfig.OffStateRunMode = TIM_OSSR_DISABLE;
  sBreakDeadTimeConfig.OffStateIDLEMode = TIM_OSSI_DISABLE;
  sBreakDeadTimeConfig.LockLevel = TIM_LOCKLEVEL_OFF;
  sBreakDeadTimeConfig.DeadTime = 0;
  sBreakDeadTimeConfig.BreakState = TIM_BREAK_DISABLE;
  sBreakDeadTimeConfig.BreakPolarity = TIM_BREAKPOLARITY_HIGH;
  sBreakDeadTimeConfig.AutomaticOutput = TIM_AUTOMATICOUTPUT_DISABLE;
  if (HAL_TIMEx_ConfigBreakDeadTime(&htim8, &sBreakDeadTimeConfig) != HAL_OK)
  {
    Error_Handler();
  }

}

static void MX_USART1_UART_Init(void)
{

  huart1.Instance = USART1;
  huart1.Init.BaudRate = 9600;
  huart1.Init.WordLength = UART_WORDLENGTH_8B;
  huart1.Init.StopBits = UART_STOPBITS_1;
  huart1.Init.Parity = UART_PARITY_NONE;
  huart1.Init.Mode = UART_MODE_TX_RX;
  huart1.Init.HwFlowCtl = UART_HWCONTROL_NONE;
  huart1.Init.OverSampling = UART_OVERSAMPLING_16;
  if (HAL_UART_Init(&huart1) != HAL_OK)
  {
    Error_Handler();
  }

}

static void MX_USART2_UART_Init(void)
{

  huart2.Instance = USART2;
  huart2.Init.BaudRate = 115200;
  huart2.Init.WordLength = UART_WORDLENGTH_8B;
  huart2.Init.StopBits = UART_STOPBITS_1;
  huart2.Init.Parity = UART_PARITY_NONE;
  huart2.Init.Mode = UART_MODE_TX_RX;
  huart2.Init.HwFlowCtl = UART_HWCONTROL_NONE;
  huart2.Init.OverSampling = UART_OVERSAMPLING_16;
  if (HAL_UART_Init(&huart2) != HAL_OK)
  {
    Error_Handler();
  }

}

static void MX_USART3_UART_Init(void)
{

  huart3.Instance = USART3;
  huart3.Init.BaudRate = 115200;
  huart3.Init.WordLength = UART_WORDLENGTH_8B;
  huart3.Init.StopBits = UART_STOPBITS_1;
  huart3.Init.Parity = UART_PARITY_NONE;
  huart3.Init.Mode = UART_MODE_TX_RX;
  huart3.Init.HwFlowCtl = UART_HWCONTROL_NONE;
  huart3.Init.OverSampling = UART_OVERSAMPLING_16;
  if (HAL_UART_Init(&huart3) != HAL_OK)
  {
    Error_Handler();
  }

}

static void MX_DMA_Init(void)
{

  /* DMA controller clock enable */
  __HAL_RCC_DMA2_CLK_ENABLE();
  __HAL_RCC_DMA1_CLK_ENABLE();

  /* DMA interrupt init */
  /* DMA1_Stream1_IRQn interrupt configuration */
  HAL_NVIC_SetPriority(DMA1_Stream1_IRQn, 0, 0);
  HAL_NVIC_EnableIRQ(DMA1_Stream1_IRQn);
  /* DMA2_Stream0_IRQn interrupt configuration */
  HAL_NVIC_SetPriority(DMA2_Stream0_IRQn, 0, 0);
  HAL_NVIC_EnableIRQ(DMA2_Stream0_IRQn);
  /* DMA2_Stream3_IRQn interrupt configuration */
  HAL_NVIC_SetPriority(DMA2_Stream3_IRQn, 0, 0);
  HAL_NVIC_EnableIRQ(DMA2_Stream3_IRQn);

}

static void MX_GPIO_Init(void)
{
  GPIO_InitTypeDef GPIO_InitStruct = {0};

  /* GPIO Ports Clock Enable */
  __HAL_RCC_GPIOE_CLK_ENABLE();
  __HAL_RCC_GPIOC_CLK_ENABLE();
  __HAL_RCC_GPIOH_CLK_ENABLE();
  __HAL_RCC_GPIOA_CLK_ENABLE();
  __HAL_RCC_GPIOB_CLK_ENABLE();
  __HAL_RCC_GPIOD_CLK_ENABLE();

  /*Configure GPIO pin Output Level */
  HAL_GPIO_WritePin(GPIOC, STRIP_ESHDN_Pin|DMX_EN_Pin, GPIO_PIN_RESET);

  /*Configure GPIO pin Output Level */
  HAL_GPIO_WritePin(GPIOD, ENC1_B_Pin|GRAPH_LE_Pin|GRAPH_OE_Pin|STRIP_PWR_Pin, GPIO_PIN_RESET);

  /*Configure GPIO pin Output Level */
  HAL_GPIO_WritePin(DIAG_DEBUG_GPIO_Port, DIAG_DEBUG_Pin, GPIO_PIN_SET);

  /*Configure GPIO pin Output Level */
  HAL_GPIO_WritePin(LGT_EN3_GPIO_Port, LGT_EN3_Pin, GPIO_PIN_RESET);

  /*Configure GPIO pin Output Level */
  HAL_GPIO_WritePin(GPIOE, LGT_EN2_Pin|LGT_EN1_Pin, GPIO_PIN_RESET);

  /*Configure GPIO pin : JACK_SW_Pin */
  GPIO_InitStruct.Pin = JACK_SW_Pin;
  GPIO_InitStruct.Mode = GPIO_MODE_INPUT;
  GPIO_InitStruct.Pull = GPIO_NOPULL;
  HAL_GPIO_Init(JACK_SW_GPIO_Port, &GPIO_InitStruct);

  /*Configure GPIO pins : STRIP_ESHDN_Pin DIAG_DEBUG_Pin DMX_EN_Pin */
  GPIO_InitStruct.Pin = STRIP_ESHDN_Pin|DIAG_DEBUG_Pin|DMX_EN_Pin;
  GPIO_InitStruct.Mode = GPIO_MODE_OUTPUT_PP;
  GPIO_InitStruct.Pull = GPIO_NOPULL;
  GPIO_InitStruct.Speed = GPIO_SPEED_FREQ_LOW;
  HAL_GPIO_Init(GPIOC, &GPIO_InitStruct);

  /*Configure GPIO pins : VDD_PG_Pin VAA_PG_Pin STRIP_PG_Pin */
  GPIO_InitStruct.Pin = VDD_PG_Pin|VAA_PG_Pin|STRIP_PG_Pin;
  GPIO_InitStruct.Mode = GPIO_MODE_INPUT;
  GPIO_InitStruct.Pull = GPIO_NOPULL;
  HAL_GPIO_Init(GPIOC, &GPIO_InitStruct);

  /*Configure GPIO pin : MENU_LEFT_Pin */
  GPIO_InitStruct.Pin = MENU_LEFT_Pin;
  GPIO_InitStruct.Mode = GPIO_MODE_IT_FALLING;
  GPIO_InitStruct.Pull = GPIO_PULLUP;
  HAL_GPIO_Init(MENU_LEFT_GPIO_Port, &GPIO_InitStruct);

  /*Configure GPIO pin : ENC2_B_Pin */
  GPIO_InitStruct.Pin = ENC2_B_Pin;
  GPIO_InitStruct.Mode = GPIO_MODE_INPUT;
  GPIO_InitStruct.Pull = GPIO_NOPULL;
  HAL_GPIO_Init(ENC2_B_GPIO_Port, &GPIO_InitStruct);

  /*Configure GPIO pins : ENC2_A_Pin ENC1_A_Pin */
  GPIO_InitStruct.Pin = ENC2_A_Pin|ENC1_A_Pin;
  GPIO_InitStruct.Mode = GPIO_MODE_IT_RISING_FALLING;
  GPIO_InitStruct.Pull = GPIO_NOPULL;
  HAL_GPIO_Init(GPIOB, &GPIO_InitStruct);

  /*Configure GPIO pins : ENC2_SW_Pin MENU_RIGHT_Pin MENU_ACT_Pin MENU_BACK_Pin
                           MENU_UP_Pin MENU_DOWN_Pin ENC1_SW_Pin */
  GPIO_InitStruct.Pin = ENC2_SW_Pin|MENU_RIGHT_Pin|MENU_ACT_Pin|MENU_BACK_Pin
                          |MENU_UP_Pin|MENU_DOWN_Pin|ENC1_SW_Pin;
  GPIO_InitStruct.Mode = GPIO_MODE_IT_FALLING;
  GPIO_InitStruct.Pull = GPIO_PULLUP;
  HAL_GPIO_Init(GPIOD, &GPIO_InitStruct);

  /*Configure GPIO pins : ENC1_B_Pin GRAPH_OE_Pin */
  GPIO_InitStruct.Pin = ENC1_B_Pin|GRAPH_OE_Pin;
  GPIO_InitStruct.Mode = GPIO_MODE_OUTPUT_PP;
  GPIO_InitStruct.Pull = GPIO_NOPULL;
  GPIO_InitStruct.Speed = GPIO_SPEED_FREQ_HIGH;
  HAL_GPIO_Init(GPIOD, &GPIO_InitStruct);

  /*Configure GPIO pins : GRAPH_LE_Pin STRIP_PWR_Pin */
  GPIO_InitStruct.Pin = GRAPH_LE_Pin|STRIP_PWR_Pin;
  GPIO_InitStruct.Mode = GPIO_MODE_OUTPUT_PP;
  GPIO_InitStruct.Pull = GPIO_NOPULL;
  GPIO_InitStruct.Speed = GPIO_SPEED_FREQ_LOW;
  HAL_GPIO_Init(GPIOD, &GPIO_InitStruct);

  /*Configure GPIO pin : SDIO_CD_Pin */
  GPIO_InitStruct.Pin = SDIO_CD_Pin;
  GPIO_InitStruct.Mode = GPIO_MODE_INPUT;
  GPIO_InitStruct.Pull = GPIO_NOPULL;
  HAL_GPIO_Init(SDIO_CD_GPIO_Port, &GPIO_InitStruct);

  /*Configure GPIO pin : LGT_EN3_Pin */
  GPIO_InitStruct.Pin = LGT_EN3_Pin;
  GPIO_InitStruct.Mode = GPIO_MODE_OUTPUT_PP;
  GPIO_InitStruct.Pull = GPIO_NOPULL;
  GPIO_InitStruct.Speed = GPIO_SPEED_FREQ_LOW;
  HAL_GPIO_Init(LGT_EN3_GPIO_Port, &GPIO_InitStruct);

  /*Configure GPIO pins : LGT_EN2_Pin LGT_EN1_Pin */
  GPIO_InitStruct.Pin = LGT_EN2_Pin|LGT_EN1_Pin;
  GPIO_InitStruct.Mode = GPIO_MODE_OUTPUT_PP;
  GPIO_InitStruct.Pull = GPIO_NOPULL;
  GPIO_InitStruct.Speed = GPIO_SPEED_FREQ_LOW;
  HAL_GPIO_Init(GPIOE, &GPIO_InitStruct);

  /* EXTI interrupt init*/
  HAL_NVIC_SetPriority(EXTI3_IRQn, 0, 0);
  HAL_NVIC_EnableIRQ(EXTI3_IRQn);

  HAL_NVIC_SetPriority(EXTI9_5_IRQn, 0, 0);
  HAL_NVIC_EnableIRQ(EXTI9_5_IRQn);

  HAL_NVIC_SetPriority(EXTI15_10_IRQn, 0, 0);
  HAL_NVIC_EnableIRQ(EXTI15_10_IRQn);

}

void Error_Handler(void)
{
  /* USER CODE BEGIN Error_Handler_Debug */
  /* User can add his own implementation to report the HAL error return state */
  __disable_irq();
  while (1)
  {
	  HAL_GPIO_WritePin(DIAG_DEBUG_GPIO_Port, DIAG_DEBUG_Pin, GPIO_PIN_SET);
	  HAL_Delay(200);
  }
  /* USER CODE END Error_Handler_Debug */
}
